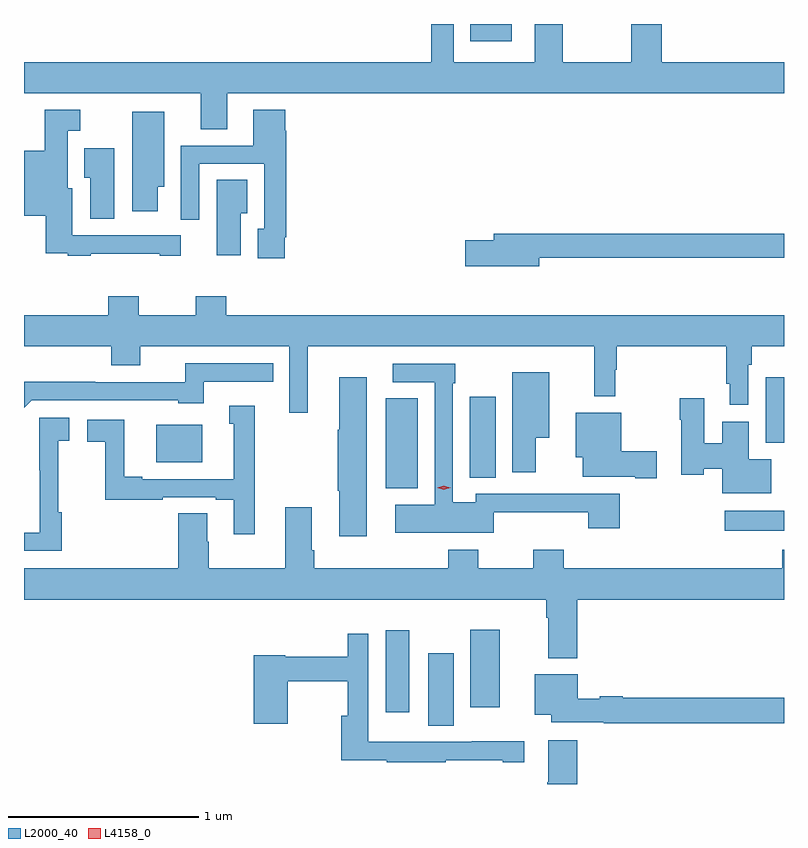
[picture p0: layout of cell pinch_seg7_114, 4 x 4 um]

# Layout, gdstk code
import gdstk
lib = gdstk.Library(unit=1e-6, precision=1e-09)
def R(c, l, rs):  # rectangles x0, y0, x1, y1
    for r in rs: c.add(gdstk.rectangle(r[:2], r[2:], *l))
def P(c, l, *ps):  # polygons
    for p in ps: c.add(gdstk.Polygon(p, *l))
L2000_40 = (2000, 40)
L4158_0 = (4158, 0)

pinch_seg7_114 = lib.new_cell('pinch_seg7_114')
R(pinch_seg7_114, L2000_40, [(902.18,1002.616,902.314,1002.997), (901.958,1002.687,902.08,1003.117), (902.402,1002.714,902.557,1003.12), (903.741,1003.643,904.053,1003.747), (901.958,1003.865,902.125,1004.339), (902.399,1003.921,902.536,1004.347), (900.749,1004.003,900.991,1004.2), (903.956,1004.106,904.053,1004.449), (902.402,1006.218,902.62,1006.309)])
P(pinch_seg7_114, L2000_40, [(901.123,1005.944),(904.053,1005.944),(904.053,1006.108),(903.41,1006.108),(903.41,1006.309),(903.25,1006.309),(903.25,1006.108),(902.889,1006.108),(902.889,1006.309),(902.741,1006.309),(902.741,1006.108),(902.314,1006.108),(902.314,1006.309),(902.196,1006.309),(902.196,1006.108),(900.053,1006.108),(900.053,1005.944),(900.983,1005.944),(900.983,1005.754),(901.123,1005.754)],
  [(900.403,1005.1),(900.767,1005.1),(900.767,1005.09),(900.879,1005.09),(900.879,1005.198),(900.307,1005.198),(900.307,1005.444),(900.283,1005.444),(900.283,1005.746),(900.349,1005.746),(900.349,1005.859),(900.162,1005.859),(900.162,1005.643),(900.053,1005.643),(900.053,1005.299),(900.167,1005.299),(900.167,1005.102),(900.283,1005.102),(900.283,1005.09),(900.403,1005.09)],
  [(901.426,1005.187),(901.433,1005.187),(901.433,1005.746),(901.427,1005.746),(901.427,1005.859),(901.259,1005.859),(901.259,1005.669),(900.879,1005.669),(900.879,1005.279),(900.975,1005.279),(900.975,1005.573),(901.317,1005.573),(901.317,1005.231),(901.283,1005.231),(901.283,1005.075),(901.426,1005.075)],
  [(900.757,1005.452),(900.79,1005.452),(900.79,1005.847),(900.623,1005.847),(900.623,1005.324),(900.757,1005.324)],
  [(900.529,1005.655),(900.371,1005.655),(900.371,1005.499),(900.401,1005.499),(900.401,1005.283),(900.529,1005.283)],
  [(901.195,1005.314),(901.228,1005.314),(901.228,1005.488),(901.067,1005.488),(901.067,1005.093),(901.195,1005.093)],
  [(902.764,1005.078),(904.053,1005.078),(904.053,1005.206),(902.525,1005.206),(902.525,1005.17),(902.376,1005.17),(902.376,1005.035),(902.764,1005.035)],
  [(900.497,1004.875),(900.497,1004.776),(900.053,1004.776),(900.053,1004.612),(900.512,1004.612),(900.512,1004.513),(900.664,1004.513),(900.664,1004.612),(901.449,1004.612),(901.449,1004.262),(901.546,1004.262),(901.546,1004.612),(903.055,1004.612),(903.055,1004.349),(903.166,1004.349),(903.166,1004.489),(903.173,1004.489),(903.173,1004.612),(903.748,1004.612),(903.748,1004.416),(903.767,1004.416),(903.767,1004.304),(903.864,1004.304),(903.864,1004.516),(903.884,1004.516),(903.884,1004.612),(904.053,1004.612),(904.053,1004.776),(901.118,1004.776),(901.118,1004.875),(900.958,1004.875),(900.958,1004.776),(900.657,1004.776),(900.657,1004.875)],
  [(900.093,1004.328),(900.864,1004.328),(900.864,1004.312),(901,1004.312),(901,1004.427),(901.364,1004.427),(901.364,1004.523),(900.901,1004.523),(900.901,1004.424),(900.428,1004.424),(900.428,1004.426),(900.053,1004.426),(900.053,1004.288)],
  [(902.526,1003.739),(903.023,1003.739),(903.023,1003.656),(903.188,1003.656),(903.188,1003.836),(902.43,1003.836),(902.43,1003.792),(902.31,1003.792),(902.31,1004.417),(902.323,1004.417),(902.323,1004.52),(901.995,1004.52),(901.995,1004.424),(902.214,1004.424),(902.214,1003.78),(902.007,1003.78),(902.007,1003.631),(902.526,1003.631)],
  [(902.746,1004.132),(902.818,1004.132),(902.818,1004.476),(902.624,1004.476),(902.624,1003.95),(902.746,1003.95)],
  [(901.858,1004.449),(901.712,1004.449),(901.712,1004.174),(901.705,1004.174),(901.705,1003.852),(901.712,1003.852),(901.712,1003.614),(901.858,1003.614)],
  [(903.985,1004.017),(903.868,1004.017),(903.868,1004.215),(903.728,1004.215),(903.728,1004.102),(903.634,1004.102),(903.634,1004.338),(903.505,1004.338),(903.505,1004.225),(903.512,1004.225),(903.512,1003.937),(903.63,1003.937),(903.63,1003.967),(903.728,1003.967),(903.728,1003.838),(903.985,1003.838)],
  [(901.267,1004.299),(901.133,1004.299),(901.133,1004.205),(901.157,1004.205),(901.157,1003.914),(900.676,1003.914),(900.676,1003.927),(900.58,1003.927),(900.58,1004.226),(900.387,1004.226),(900.387,1004.11),(900.481,1004.11),(900.481,1003.806),(900.782,1003.806),(900.782,1003.818),(901.061,1003.818),(901.061,1003.806),(901.157,1003.806),(901.157,1003.623),(901.267,1003.623)],
  [(903.382,1004.06),(903.196,1004.06),(903.196,1004.263),(902.957,1004.263),(902.957,1004.03),(902.993,1004.03),(902.993,1003.925),(903.269,1003.925),(903.269,1003.918),(903.382,1003.918)],
  [(900.251,1003.739),(900.234,1003.739),(900.234,1004.115),(900.292,1004.115),(900.292,1004.236),(900.134,1004.236),(900.134,1003.96),(900.135,1003.96),(900.135,1003.632),(900.053,1003.632),(900.053,1003.536),(900.251,1003.536)],
  [(902.966,1003.28),(904.053,1003.28),(904.053,1003.543),(904.043,1003.543),(904.043,1003.444),(902.894,1003.444),(902.894,1003.543),(902.734,1003.543),(902.734,1003.444),(902.445,1003.444),(902.445,1003.543),(902.285,1003.543),(902.285,1003.444),(901.58,1003.444),(901.58,1003.54),(901.567,1003.54),(901.567,1003.765),(901.427,1003.765),(901.427,1003.444),(901.026,1003.444),(901.026,1003.583),(901.018,1003.583),(901.018,1003.733),(900.866,1003.733),(900.866,1003.444),(900.053,1003.444),(900.053,1003.28),(902.801,1003.28),(902.801,1003.184),(902.813,1003.184),(902.813,1002.971),(902.966,1002.971)],
  [(902.273,1002.433),(902.573,1002.433),(902.573,1002.423),(902.686,1002.423),(902.686,1002.533),(902.41,1002.533),(902.41,1002.531),(902.076,1002.531),(902.076,1002.532),(901.866,1002.532),(901.866,1003.099),(901.758,1003.099),(901.758,1002.979),(901.428,1002.979),(901.428,1002.987),(901.262,1002.987),(901.262,1002.627),(901.44,1002.627),(901.44,1002.85),(901.758,1002.85),(901.758,1002.667),(901.724,1002.667),(901.724,1002.433),(901.963,1002.433),(901.963,1002.423),(902.273,1002.423)],
  [(904.053,1002.764),(903.204,1002.764),(903.204,1002.772),(903.084,1002.772),(903.084,1002.757),(902.968,1002.757),(902.968,1002.886),(902.741,1002.886),(902.741,1002.674),(902.828,1002.674),(902.828,1002.635),(903.104,1002.635),(903.104,1002.628),(904.053,1002.628)],
  [(902.966,1002.538),(902.813,1002.538),(902.813,1002.317),(902.806,1002.317),(902.806,1002.309),(902.966,1002.309)])
P(pinch_seg7_114, L4158_0, [(902.263,1003.858),(902.228,1003.868),(902.228,1003.868),(902.228,1003.868),(902.263,1003.878),(902.297,1003.868),(902.298,1003.868),(902.297,1003.868)])

lib.write_gds('pinch_seg7_114.gds')
